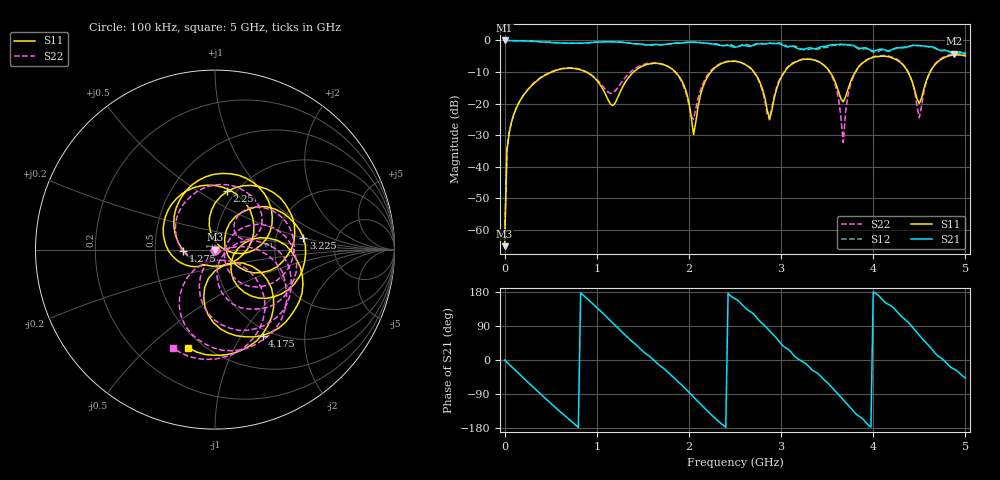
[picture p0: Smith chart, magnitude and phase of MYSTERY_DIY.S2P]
!Agilent Technologies,E5071C,MY46101917,A.08.10
!Date: Mon Jan 01 06:11:59 2001
!Data & Calibration Information:
!Freq	S11:SOLT2(ON)	S21:SOLT2(ON)	S12:SOLT2(ON)	S22:SOLT2(ON)
# Hz S RI R 50
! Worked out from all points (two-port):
!   201 points, 100 kHz to 5 GHz, reference 50 ohm
!   highest |S21| = 0.00 dB at 100 kHz (marker M1); lowest = -4.1 dB at 4.875 GHz (marker M2)
!   |S21| within 3 dB of the highest: start of sweep to 3.968 GHz; 4.194 GHz to 4.712 GHz (517.9 MHz wide, 11.6 % of centre)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
!   lowest |S11| = -65.1 dB at 100 kHz (marker M3), VSWR 1.00, Z = 50.1 + j0.0206 ohm
!   |S11| at or under -10 dB: start of sweep to 510.4 MHz; 884.2 MHz to 1.399 GHz (514.4 MHz wide, 45.1 % of centre); 1.855 GHz to 2.239 GHz (383.7 MHz wide, 18.7 % of centre)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
!   |S22| runs from -63.6 to -4.2 dB; largest |S21 - S12| = 0.058
!   S11 on the Smith chart (normalised r, x): 100 kHz: 1.00, +0.00; 1.275 GHz: 0.70, -0.01; 2.25 GHz: 0.91, +0.67; 3.225 GHz: 2.87, +0.51; 4.175 GHz: 0.91, -1.24; 5 GHz: 0.42, -0.68
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100000  0.000514 0.000206  1 -0.00122  0.9994 -0.000178  0.000572 -0.000331
2.50995e7  -0.00218 -0.0181  0.9933 -0.1027  0.9932 -0.1022  -0.00348 -0.0175
1.250975e8  -0.0411 -0.0732  0.8668 -0.4828  0.8667 -0.4826  -0.058 -0.061
4.50091e8  -0.2816 0.0527  -0.2082 -0.9188  -0.2069 -0.9164  -0.1973 0.2176
8.50083e8  0.115 0.3124  -0.8975 0.1312  -0.9 0.1324  0.2523 0.2233
1.275074e9  -0.1767 -0.00545  0.2649 0.8953  0.2694 0.8974  0.1257 0.1856
1.675066e9  0.2142 0.3729  0.8332 -0.1875  0.8408 -0.1793  0.4305 -0.0545
1.925062e9  0.226 0.00227  0.3621 -0.8402  0.3553 -0.8457  0.1256 -0.1736
2.050059e9  0.0265 0.0187  -0.1241 -0.9288  -0.121 -0.9291  0.0567 0.00419
2.250055e9  0.0686 0.3244  -0.7297 -0.4898  -0.7276 -0.5145  0.3255 0.1214
2.50005e9  0.4317 0.1807  -0.7418 0.2436  -0.7418 0.2811  0.4061 -0.2371
2.875042e9  0.056 0.0112  0.2043 0.8767  0.2114 0.8749  0.0511 -0.0212
3.225036e9  0.4925 0.0674  0.7223 -0.0392  0.7179 -0.0949  0.4005 -0.3025
3.350033e9  0.47 -0.1509  0.6517 -0.3563  0.6384 -0.3673  0.225 -0.441
3.575028e9  0.1277 -0.2069  0.1687 -0.839  0.1768 -0.8251  -0.0878 -0.2069
3.675026e9  0.1015 -0.0341  -0.2278 -0.8369  -0.2236 -0.8236  0.0181 -0.0163
3.800024e9  0.3006 0.063  -0.6165 -0.5343  -0.6148 -0.5161  0.2962 -0.0329
4.175016e9  0.2651 -0.4787  -0.5699 0.3905  -0.5655 0.3656  0.043 -0.5613
4.50001e9  0.046 -0.0893  0.3434 0.7561  0.3372 0.7595  0.0076 -0.0592
4.625008e9  0.2888 -0.1639  0.6754 0.4245  0.6616 0.4268  0.257 -0.2126
4.875002e9  0.098 -0.5791  0.5679 -0.2493  0.5904 -0.2347  0.00128 -0.6099
5e9  -0.1481 -0.5476  0.418 -0.4599  0.4303 -0.4727  -0.2329 -0.5478
